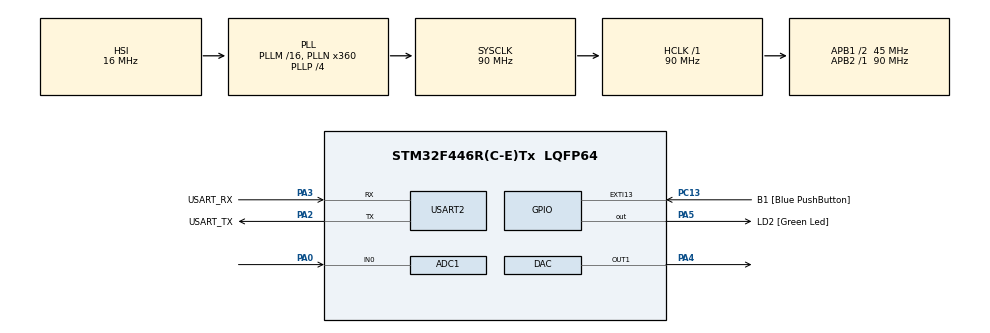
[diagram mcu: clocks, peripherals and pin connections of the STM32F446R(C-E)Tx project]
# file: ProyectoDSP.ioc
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ADC1.Channel-3\#ChannelRegularConversion=ADC_CHANNEL_0
ADC1.ContinuousConvMode=DISABLE
ADC1.ExternalTrigConv=ADC_EXTERNALTRIGCONV_T2_TRGO
ADC1.NbrOfConversionFlag=1
ADC1.Rank-3\#ChannelRegularConversion=1
ADC1.Resolution=ADC_RESOLUTION_12B
ADC1.SamplingTime-3\#ChannelRegularConversion=ADC_SAMPLETIME_3CYCLES
ADC1.master=1
DAC.DAC_Trigger=DAC_TRIGGER_T2_TRGO
Dma.DAC1.1.Direction=DMA_MEMORY_TO_PERIPH
Dma.DAC1.1.FIFOMode=DMA_FIFOMODE_DISABLE
Dma.DAC1.1.Instance=DMA1_Stream5
Dma.DAC1.1.MemDataAlignment=DMA_MDATAALIGN_BYTE
Dma.DAC1.1.MemInc=DMA_MINC_ENABLE
Dma.DAC1.1.Mode=DMA_NORMAL
Dma.DAC1.1.PeriphDataAlignment=DMA_PDATAALIGN_BYTE
Dma.DAC1.1.PeriphInc=DMA_PINC_DISABLE
Dma.DAC1.1.Priority=DMA_PRIORITY_MEDIUM
Dma.Request0=USART2_TX
Dma.Request1=DAC1
Dma.USART2_TX.0.Direction=DMA_MEMORY_TO_PERIPH
Dma.USART2_TX.0.FIFOMode=DMA_FIFOMODE_DISABLE
Dma.USART2_TX.0.Instance=DMA1_Stream6
Dma.USART2_TX.0.MemDataAlignment=DMA_MDATAALIGN_BYTE
Dma.USART2_TX.0.MemInc=DMA_MINC_ENABLE
Dma.USART2_TX.0.Mode=DMA_CIRCULAR
Dma.USART2_TX.0.PeriphDataAlignment=DMA_PDATAALIGN_BYTE
Dma.USART2_TX.0.PeriphInc=DMA_PINC_DISABLE
Dma.USART2_TX.0.Priority=DMA_PRIORITY_LOW
Mcu.Family=STM32F4
Mcu.Name=STM32F446R(C-E)Tx
Mcu.Package=LQFP64
NVIC.ADC_IRQn=true\:0\:0\:false\:false\:true\:true\:true\:true
NVIC.DMA1_Stream5_IRQn=true\:0\:0\:false\:false\:true\:false\:true\:true
NVIC.DMA1_Stream6_IRQn=true\:0\:0\:false\:false\:true\:false\:true\:true
NVIC.PriorityGroup=NVIC_PRIORITYGROUP_0
NVIC.USART2_IRQn=true\:0\:0\:false\:false\:true\:true\:true\:true
PA0-WKUP.Signal=ADCx_IN0
PA13.GPIO_Label=TMS
PA13.Mode=Serial_Wire
PA13.Signal=SYS_JTMS-SWDIO
PA14.GPIO_Label=TCK
PA14.Mode=Serial_Wire
PA14.Signal=SYS_JTCK-SWCLK
PA2.GPIO_Label=USART_TX
PA2.Mode=Asynchronous
PA2.Signal=USART2_TX
PA3.GPIO_Label=USART_RX
PA3.Mode=Asynchronous
PA3.Signal=USART2_RX
PA4.Signal=COMP_DAC1_group
PA5.GPIO_Label=LD2 [Green Led]
PA5.Signal=GPIO_Output
PB3.GPIO_Label=SWO
PB3.Signal=SYS_JTDO-SWO
PC13.GPIO_Label=B1 [Blue PushButton]
PC13.GPIO_ModeDefaultEXTI=GPIO_MODE_IT_FALLING
PC13.Signal=GPXTI13
PC14-OSC32_IN.Mode=LSE-External-Oscillator
PC14-OSC32_IN.Signal=RCC_OSC32_IN
PC15-OSC32_OUT.Mode=LSE-External-Oscillator
PC15-OSC32_OUT.Signal=RCC_OSC32_OUT
PH0-OSC_IN.Mode=HSE-External-Oscillator
PH0-OSC_IN.Signal=RCC_OSC_IN
PH1-OSC_OUT.Mode=HSE-External-Oscillator
PH1-OSC_OUT.Signal=RCC_OSC_OUT
ProjectManager.HeapSize=0x200
ProjectManager.StackSize=0x400
ProjectManager.TargetToolchain=STM32CubeIDE
RCC.48MHZClocksFreq_Value=84000000
RCC.AHBFreq_Value=90000000
RCC.APB1CLKDivider=RCC_HCLK_DIV2
RCC.APB1Freq_Value=45000000
RCC.APB1TimFreq_Value=90000000
RCC.APB2Freq_Value=90000000
RCC.APB2TimFreq_Value=90000000
RCC.CortexFreq_Value=90000000
RCC.FLatency-AdvancedSettings=FLASH_LATENCY_2
RCC.HCLKFreq_Value=90000000
RCC.HSE_VALUE=8000000
RCC.HSI_VALUE=16000000
RCC.PLLN=360
RCC.PLLP=RCC_PLLP_DIV4
RCC.SYSCLKFreq_VALUE=90000000
RCC.SYSCLKSource=RCC_SYSCLKSOURCE_PLLCLK
RCC.USBFreq_Value=180000000
RCC.VCOOutputFreq_Value=360000000
SH.ADCx_IN0.0=ADC1_IN0,IN0
SH.COMP_DAC1_group.0=DAC_OUT1,DAC_OUT1
TIM2.Period=1000-1
TIM2.Prescaler=90-1
TIM2.TIM_MasterOutputTrigger=TIM_TRGO_UPDATE
USART2.VirtualMode=VM_ASYNC
VP_TIM2_VS_ClockSourceINT.Mode=Internal
board=NUCLEO-F446RE

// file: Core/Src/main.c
/* USER CODE BEGIN Header */
/**
  ******************************************************************************
  * @file           : main.c
  * @brief          : Main program body
  ******************************************************************************
  * @attention
  *
  * Copyright (c) 2026 STMicroelectronics.
  * All rights reserved.
  *
  * This software is licensed under terms that can be found in the LICENSE file
  * in the root directory of this software component.
  * If no LICENSE file comes with this software, it is provided AS-IS.
  *
  ******************************************************************************
  */
/* USER CODE END Header */
#include "main.h"

/* USER CODE BEGIN Includes */
#include <string.h>
#include <stdio.h>
#include <math.h>
/* USER CODE END Includes */

/* USER CODE BEGIN PTD */
typedef struct {
    float *buffer;
    uint16_t size;
    uint16_t head;
} CircularBuffer;

typedef union {
    float f;
    uint32_t u32;
    uint8_t bytes[4];
} BinaryData;

// Estructura de paquete para evitar desincronización en la PC
typedef struct {
    uint8_t header[2]; // Ejemplo: 0xAA, 0xBB
    uint8_t data[4];
    uint8_t footer;    // Ejemplo: 0xFF
} TelemetryPacket;
/* USER CODE END PTD */

/* USER CODE BEGIN PD */
#define UART2_BUFFER_SIZE 100
#define DSP_BUFFER_SIZE 100

// Protocolo de comunicaciones USART
#define CMD_START 			'a'
#define CMD_VECTOR_SEL		'b'
#define CMD_INDEX			'c'
#define CMD_DATA_0			'd'
#define CMD_DATA_1			'e'
#define CMD_DATA_2			'f'
#define CMD_DATA_3			'g'
#define CMD_STOP			'h'
#define CMD_INSPECT_COEFS    'i'  // Nuevo comando para reporte ASCII
#define CMD_FREQ_LOW  'j'
#define CMD_FREQ_HIGH 'k'
#define CMD_RESUME    'r'

#define VECTOR_SEL_A		0x00
#define VECTOR_SEL_B		0x01

#define FCLK1				1000000

/* USER CODE END PD */

ADC_HandleTypeDef hadc1;

DAC_HandleTypeDef hdac;
DMA_HandleTypeDef hdma_dac1;

TIM_HandleTypeDef htim2;

UART_HandleTypeDef huart2;
DMA_HandleTypeDef hdma_usart2_tx;

/* USER CODE BEGIN PV */
volatile uint8_t adc_ready = 0;
volatile uint16_t adc_raw_value = 0; // Cambiado de puntero a variable real

// Buffers físicos
float x_data[3] = {0};
float y_data[3] = {0};

// Estructuras de control
CircularBuffer cb_x = {x_data, 3, 0};
CircularBuffer cb_y = {y_data, 3, 0};

// Coeficientes
float a_coefs[3] = {1.0f-0.9f};
float b_coefs[3] = {1.0f, -0.9f}; // Ajustados para estabilidad (ejemplo)

// Buffer para entrada de UART
uint8_t RX_buffer[UART2_BUFFER_SIZE];

// Variables para bytes para conversión de byte a float
uint8_t rx_byte_0 = 0;
uint8_t rx_byte_1 = 0;
uint8_t rx_byte_2 = 0;
uint8_t rx_byte_3 = 0;

uint8_t rx_vector_sel = 0;
uint8_t rx_index = 0;

TelemetryPacket tx_packet = {{0xAA, 0xBB}, {0}, 0xFF};
BinaryData dsp_output;

volatile uint8_t config_mode = 0;

uint16_t target_frequency = 10000; // Valor por defecto
/* USER CODE END PV */

void SystemClock_Config(void);
static void MX_GPIO_Init(void);
static void MX_DMA_Init(void);
static void MX_ADC1_Init(void);
static void MX_USART2_UART_Init(void);
static void MX_TIM2_Init(void);
static void MX_DAC_Init(void);
/* USER CODE BEGIN PFP */
void SetSamplingRate(uint16_t frequency);
float DigitalFilter(float x_n, CircularBuffer *cX, CircularBuffer *cY, float a[], float b[]);
void ProcessInputUART(float* a, float* b, uint8_t input[]);
float Convert4BytesToFloat(uint8_t b3, uint8_t b2, uint8_t b1, uint8_t b0);

/* USER CODE END PFP */

/* USER CODE BEGIN 0 */

// Función para insertar: Sobrescribe el más viejo y avanza el head
void CB_Push(CircularBuffer *cb, float value) {
    cb->buffer[cb->head] = value;
    cb->head = (cb->head + 1) % cb->size;
}

// Función para leer: lookback 0 es el más reciente, 1 el anterior...
float CB_Read(CircularBuffer *cb, uint16_t lookback) {
    // Si head es 2, el más reciente (lookback 0) está en index 1
    int16_t index = (int16_t)cb->head - 1 - (int16_t)lookback;
    while (index < 0) index += cb->size;
    return cb->buffer[index];
}

// Cambiar la frecuencia de meuestreo
void SetSamplingRate(uint16_t frequency)
{
    if (frequency == 0) return;

    // Usar FCLK1 que es la que definiste arriba
    uint32_t new_period = (FCLK1 / frequency) - 1;

    __HAL_TIM_SET_AUTORELOAD(&htim2, new_period);
    __HAL_TIM_SET_COUNTER(&htim2, 0);
}

// Filtro Digital usando la lógica de índices móviles
float DigitalFilter(float x_n, CircularBuffer *cX, CircularBuffer *cY, float a[], float b[]) {
    float y_acc = 0;

    // 1. Guardamos la entrada actual en el buffer circular
    CB_Push(cX, x_n);

    // 2. Feedforward: y[n] = a0*x[n] + a1*x[n-1] + ...
    for(uint16_t i = 0; i < cX->size; i++) {
        y_acc += a[i] * CB_Read(cX, i);
    }

    // 3. Feedback: - (b1*y[n-1] + b2*y[n-2]...)
    // Nota: Empezamos en j=1 porque b[0] suele ser 1
    for(uint16_t j = 1; j < cY->size; j++) {
        y_acc -= b[j] * CB_Read(cY, j - 1);
    }

    // 4. Guardamos la salida calculada para el siguiente ciclo
    CB_Push(cY, y_acc);

    return y_acc;
}

// Comandos UART
void ProcessInputUART(float* a, float* b, uint8_t input[])
{
    uint8_t data = input[0];
    uint8_t command = input[1];

    switch(command)
    {
        case(CMD_START):
            config_mode = 1;
            HAL_UART_AbortTransmit(&huart2); // Detener telemetría de inmediato
            rx_byte_0 = 0; rx_byte_1 = 0; rx_byte_2 = 0; rx_byte_3 = 0;
            break;

        case(CMD_VECTOR_SEL): rx_vector_sel = data; break;
        case(CMD_INDEX):      rx_index = data;      break;

        case(CMD_DATA_0):     rx_byte_0 = data;     break;
        case(CMD_DATA_1):     rx_byte_1 = data;     break;
        case(CMD_DATA_2):     rx_byte_2 = data;     break;
        case(CMD_DATA_3):     rx_byte_3 = data;     break;

        case(CMD_STOP):
            {
                BinaryData temp;
                temp.bytes[0] = rx_byte_0; // Little Endian (LSB primero)
                temp.bytes[1] = rx_byte_1;
                temp.bytes[2] = rx_byte_2;
                temp.bytes[3] = rx_byte_3;

                if (rx_vector_sel == VECTOR_SEL_A) a[rx_index] = temp.f;
                else if (rx_vector_sel == VECTOR_SEL_B) b[rx_index] = temp.f;

                HAL_GPIO_TogglePin(LD2_GPIO_Port, LD2_Pin);
            }
            break;

        case(CMD_INSPECT_COEFS):
            config_mode = 1;
            HAL_UART_AbortTransmit(&huart2);

            char msg[64];
            sprintf(msg, "\r\n--- Coeficientes Actuales ---\r\n");
            HAL_UART_Transmit(&huart2, (uint8_t*)msg, strlen(msg), 100);

            for(int i=0; i<3; i++) {
                sprintf(msg, "a[%d]: %.6f\r\n", i, a[i]);
                HAL_UART_Transmit(&huart2, (uint8_t*)msg, strlen(msg), 100);
            }
            for(int i=0; i<3; i++) {
                sprintf(msg, "b[%d]: %.6f\r\n", i, b[i]);
                HAL_UART_Transmit(&huart2, (uint8_t*)msg, strlen(msg), 100);
            }
            sprintf(msg, "-----------------------------\r\n");
            HAL_UART_Transmit(&huart2, (uint8_t*)msg, strlen(msg), 100);

            //config_mode = 0;
		break;

        case CMD_FREQ_LOW:
			// Guardamos los 8 bits menos significativos
			target_frequency = (target_frequency & 0xFF00) | data;
		break;

		case CMD_FREQ_HIGH:
			// Guardamos los 8 bits más significativos y actualizamos el Timer
			target_frequency = (target_frequency & 0x00FF) | (data << 8);

			// Evitamos frecuencias de 0 para no romper el cálculo del Timer
			if (target_frequency > 0) {
				SetSamplingRate(target_frequency);
			}
		break;

		case CMD_RESUME:
			config_mode = 0; // Salir del modo configuración y reanudar DMA
		break;
    }
}
/* USER CODE END 0 */

int main(void)
{

  /* MCU Configuration--------------------------------------------------------*/

  /* Reset of all peripherals, Initializes the Flash interface and the Systick. */
  HAL_Init();

  /* Configure the system clock */
  SystemClock_Config();

  /* Initialize all configured peripherals */
  MX_GPIO_Init();
  MX_DMA_Init();
  MX_ADC1_Init();
  MX_USART2_UART_Init();
  MX_TIM2_Init();
  MX_DAC_Init();
  /* USER CODE BEGIN 2 */
  HAL_TIM_Base_Start(&htim2);    // Disparador de frecuencia de muestreo
  HAL_ADC_Start_IT(&hadc1);      // Iniciar ADC por interrupción

  // Iniciamos el DAC de forma normal (sin DMA).
  // Actualizaremos el valor manualmente después de filtrar.
  HAL_DAC_Start(&hdac, DAC_CHANNEL_1);

  SetSamplingRate(target_frequency);        // 10 kHz
  HAL_UART_Receive_IT(&huart2, RX_buffer, 2);
  /* USER CODE END 2 */

  /* Infinite loop */
  /* USER CODE BEGIN WHILE */
  while (1)
  {
	if(adc_ready)
	{
		adc_ready = 0;

		float x = (float)adc_raw_value;
		float y_out = DigitalFilter(x, &cb_x, &cb_y, a_coefs, b_coefs);

		int32_t dac_val = (int32_t)y_out;
		if(dac_val > 4095) dac_val = 4095;
		if(dac_val < 0)    dac_val = 0;

		HAL_DAC_SetValue(&hdac, DAC_CHANNEL_1, DAC_ALIGN_12B_R, (uint32_t)dac_val);

		// SOLO ENVIAR SI NO ESTAMOS EN MODO CONFIGURACIÓN
		if (config_mode == 0) {
			UART_SendBinaryFloat(y_out);
		}
	}
  }
    /* USER CODE END WHILE */

}

void SystemClock_Config(void)
{
  RCC_OscInitTypeDef RCC_OscInitStruct = {0};
  RCC_ClkInitTypeDef RCC_ClkInitStruct = {0};

  /** Configure the main internal regulator output voltage
  */
  __HAL_RCC_PWR_CLK_ENABLE();
  __HAL_PWR_VOLTAGESCALING_CONFIG(PWR_REGULATOR_VOLTAGE_SCALE3);

  /** Initializes the RCC Oscillators according to the specified parameters
  * in the RCC_OscInitTypeDef structure.
  */
  RCC_OscInitStruct.OscillatorType = RCC_OSCILLATORTYPE_HSI;
  RCC_OscInitStruct.HSIState = RCC_HSI_ON;
  RCC_OscInitStruct.HSICalibrationValue = RCC_HSICALIBRATION_DEFAULT;
  RCC_OscInitStruct.PLL.PLLState = RCC_PLL_ON;
  RCC_OscInitStruct.PLL.PLLSource = RCC_PLLSOURCE_HSI;
  RCC_OscInitStruct.PLL.PLLM = 16;
  RCC_OscInitStruct.PLL.PLLN = 360;
  RCC_OscInitStruct.PLL.PLLP = RCC_PLLP_DIV4;
  RCC_OscInitStruct.PLL.PLLQ = 2;
  RCC_OscInitStruct.PLL.PLLR = 2;
  if (HAL_RCC_OscConfig(&RCC_OscInitStruct) != HAL_OK)
  {
    Error_Handler();
  }

  /** Initializes the CPU, AHB and APB buses clocks
  */
  RCC_ClkInitStruct.ClockType = RCC_CLOCKTYPE_HCLK|RCC_CLOCKTYPE_SYSCLK
                              |RCC_CLOCKTYPE_PCLK1|RCC_CLOCKTYPE_PCLK2;
  RCC_ClkInitStruct.SYSCLKSource = RCC_SYSCLKSOURCE_PLLCLK;
  RCC_ClkInitStruct.AHBCLKDivider = RCC_SYSCLK_DIV1;
  RCC_ClkInitStruct.APB1CLKDivider = RCC_HCLK_DIV2;
  RCC_ClkInitStruct.APB2CLKDivider = RCC_HCLK_DIV1;

  if (HAL_RCC_ClockConfig(&RCC_ClkInitStruct, FLASH_LATENCY_2) != HAL_OK)
  {
    Error_Handler();
  }
}

static void MX_ADC1_Init(void)
{

  ADC_ChannelConfTypeDef sConfig = {0};

  /** Configure the global features of the ADC (Clock, Resolution, Data Alignment and number of conversion)
  */
  hadc1.Instance = ADC1;
  hadc1.Init.ClockPrescaler = ADC_CLOCK_SYNC_PCLK_DIV4;
  hadc1.Init.Resolution = ADC_RESOLUTION_12B;
  hadc1.Init.ScanConvMode = DISABLE;
  hadc1.Init.ContinuousConvMode = DISABLE;
  hadc1.Init.DiscontinuousConvMode = DISABLE;
  hadc1.Init.ExternalTrigConvEdge = ADC_EXTERNALTRIGCONVEDGE_RISING;
  hadc1.Init.ExternalTrigConv = ADC_EXTERNALTRIGCONV_T2_TRGO;
  hadc1.Init.DataAlign = ADC_DATAALIGN_RIGHT;
  hadc1.Init.NbrOfConversion = 1;
  hadc1.Init.DMAContinuousRequests = DISABLE;
  hadc1.Init.EOCSelection = ADC_EOC_SINGLE_CONV;
  if (HAL_ADC_Init(&hadc1) != HAL_OK)
  {
    Error_Handler();
  }

  /** Configure for the selected ADC regular channel its corresponding rank in the sequencer and its sample time.
  */
  sConfig.Channel = ADC_CHANNEL_0;
  sConfig.Rank = 1;
  sConfig.SamplingTime = ADC_SAMPLETIME_3CYCLES;
  if (HAL_ADC_ConfigChannel(&hadc1, &sConfig) != HAL_OK)
  {
    Error_Handler();
  }

}

static void MX_DAC_Init(void)
{

  DAC_ChannelConfTypeDef sConfig = {0};

  /** DAC Initialization
  */
  hdac.Instance = DAC;
  if (HAL_DAC_Init(&hdac) != HAL_OK)
  {
    Error_Handler();
  }

  /** DAC channel OUT1 config
  */
  sConfig.DAC_Trigger = DAC_TRIGGER_T2_TRGO;
  sConfig.DAC_OutputBuffer = DAC_OUTPUTBUFFER_ENABLE;
  if (HAL_DAC_ConfigChannel(&hdac, &sConfig, DAC_CHANNEL_1) != HAL_OK)
  {
    Error_Handler();
  }

}

static void MX_TIM2_Init(void)
{

  TIM_ClockConfigTypeDef sClockSourceConfig = {0};
  TIM_MasterConfigTypeDef sMasterConfig = {0};

  htim2.Instance = TIM2;
  htim2.Init.Prescaler = 90-1;
  htim2.Init.CounterMode = TIM_COUNTERMODE_UP;
  htim2.Init.Period = 1000-1;
  htim2.Init.ClockDivision = TIM_CLOCKDIVISION_DIV1;
  htim2.Init.AutoReloadPreload = TIM_AUTORELOAD_PRELOAD_DISABLE;
  if (HAL_TIM_Base_Init(&htim2) != HAL_OK)
  {
    Error_Handler();
  }
  sClockSourceConfig.ClockSource = TIM_CLOCKSOURCE_INTERNAL;
  if (HAL_TIM_ConfigClockSource(&htim2, &sClockSourceConfig) != HAL_OK)
  {
    Error_Handler();
  }
  sMasterConfig.MasterOutputTrigger = TIM_TRGO_UPDATE;
  sMasterConfig.MasterSlaveMode = TIM_MASTERSLAVEMODE_DISABLE;
  if (HAL_TIMEx_MasterConfigSynchronization(&htim2, &sMasterConfig) != HAL_OK)
  {
    Error_Handler();
  }

}

static void MX_USART2_UART_Init(void)
{

  huart2.Instance = USART2;
  huart2.Init.BaudRate = 115200;
  huart2.Init.WordLength = UART_WORDLENGTH_8B;
  huart2.Init.StopBits = UART_STOPBITS_1;
  huart2.Init.Parity = UART_PARITY_NONE;
  huart2.Init.Mode = UART_MODE_TX_RX;
  huart2.Init.HwFlowCtl = UART_HWCONTROL_NONE;
  huart2.Init.OverSampling = UART_OVERSAMPLING_16;
  if (HAL_UART_Init(&huart2) != HAL_OK)
  {
    Error_Handler();
  }

}

static void MX_DMA_Init(void)
{

  /* DMA controller clock enable */
  __HAL_RCC_DMA1_CLK_ENABLE();

  /* DMA interrupt init */
  /* DMA1_Stream5_IRQn interrupt configuration */
  HAL_NVIC_SetPriority(DMA1_Stream5_IRQn, 0, 0);
  HAL_NVIC_EnableIRQ(DMA1_Stream5_IRQn);
  /* DMA1_Stream6_IRQn interrupt configuration */
  HAL_NVIC_SetPriority(DMA1_Stream6_IRQn, 0, 0);
  HAL_NVIC_EnableIRQ(DMA1_Stream6_IRQn);

}

static void MX_GPIO_Init(void)
{
  GPIO_InitTypeDef GPIO_InitStruct = {0};

  /* GPIO Ports Clock Enable */
  __HAL_RCC_GPIOC_CLK_ENABLE();
  __HAL_RCC_GPIOH_CLK_ENABLE();
  __HAL_RCC_GPIOA_CLK_ENABLE();
  __HAL_RCC_GPIOB_CLK_ENABLE();

  /*Configure GPIO pin Output Level */
  HAL_GPIO_WritePin(LD2_GPIO_Port, LD2_Pin, GPIO_PIN_RESET);

  /*Configure GPIO pin : B1_Pin */
  GPIO_InitStruct.Pin = B1_Pin;
  GPIO_InitStruct.Mode = GPIO_MODE_IT_FALLING;
  GPIO_InitStruct.Pull = GPIO_NOPULL;
  HAL_GPIO_Init(B1_GPIO_Port, &GPIO_InitStruct);

  /*Configure GPIO pin : LD2_Pin */
  GPIO_InitStruct.Pin = LD2_Pin;
  GPIO_InitStruct.Mode = GPIO_MODE_OUTPUT_PP;
  GPIO_InitStruct.Pull = GPIO_NOPULL;
  GPIO_InitStruct.Speed = GPIO_SPEED_FREQ_LOW;
  HAL_GPIO_Init(LD2_GPIO_Port, &GPIO_InitStruct);

}

/* USER CODE BEGIN 4 */
// INTERRUPCIONES

void HAL_ADC_ConvCpltCallback(ADC_HandleTypeDef* hadc){
    if(hadc->Instance == ADC1) {
        adc_raw_value = (uint16_t)HAL_ADC_GetValue(hadc); // Correcto: asignación directa
        adc_ready = 1;
    }
}

void HAL_UART_RxCpltCallback(UART_HandleTypeDef *huart){
    if (huart->Instance == USART2) {
        // 1. Procesar los 2 bytes recibidos
        ProcessInputUART(a_coefs, b_coefs, RX_buffer);

        // 2. ENVIAR ACK: Devolvemos el comando recibido como confirmación
        uint8_t ack = RX_buffer[1];
        HAL_UART_Transmit(&huart2, &ack, 1, 10);

        // 3. RE-ARMAR la recepción para los PRÓXIMOS 2 BYTES únicamente
        HAL_UART_Receive_IT(&huart2, RX_buffer, 2);
    }
}

/* USER CODE END 4 */

void Error_Handler(void)
{
  __disable_irq();
  while (1)
  {
  }
}
